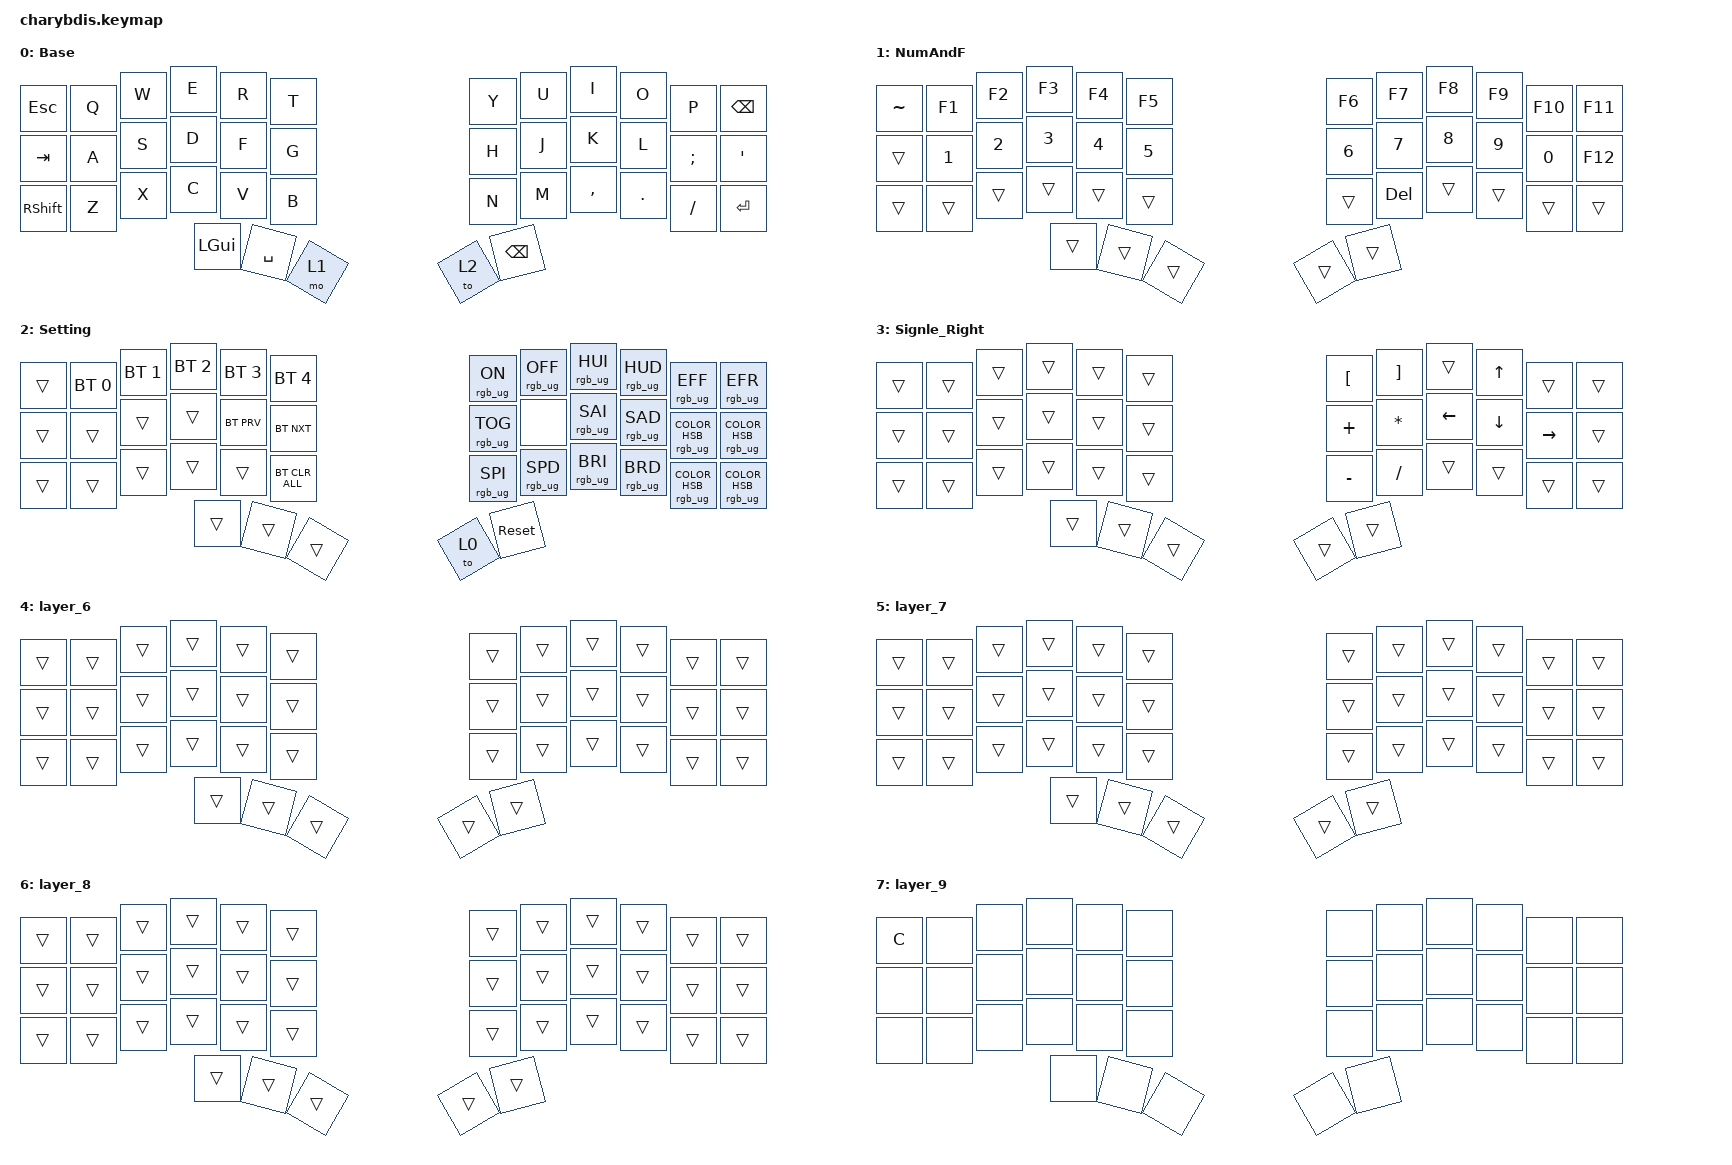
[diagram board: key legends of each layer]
#include <dt-bindings/zmk/mouse.h>
#include <input/processors.dtsi>
#include <dt-bindings/zmk/input_transform.h>
#include <behaviors.dtsi>
#include <dt-bindings/zmk/bt.h>
#include <dt-bindings/zmk/keys.h>
#include <dt-bindings/zmk/rgb.h>

#define U_TAPPING_TERM 200

/ {
    trackball_listener {
        compatible = "zmk,input-listener";
        device = <&trackball>;
        input-processors = <&zip_xy_scaler 1 2>, <&zip_temp_layer 4 400>;

        // Switch to auto-mouse temp layer, decrease sensitivity

        scroll {
            layers = <5>; // SCROLL
            input-processors =
                <&zip_xy_scaler 1 5>,
                <&zip_xy_to_scroll_mapper>,
                <&zip_scroll_transform (INPUT_TRANSFORM_Y_INVERT)>;
        };
    };

    combos {
        compatible = "zmk,combos";

        Setting {
            bindings = <&to 2>;
            key-positions = <24 0>;
            layers = <0>;
        };

        Main {
            bindings = <&to 0>;
            key-positions = <24 0>;
            layers = <2>;
        };
    };

    keymap {
        compatible = "zmk,keymap";

        Base {
            bindings = <
&kp ESC     &kp Q  &kp W  &kp E     &kp R      &kp T    &kp Y  &kp U          &kp I      &kp O    &kp P          &kp BSPC
&kp TAB     &kp A  &kp S  &kp D     &kp F      &kp G    &kp H  &kp J          &kp K      &kp L    &kp SEMICOLON  &kp APOS
&kp RSHIFT  &kp Z  &kp X  &kp C     &kp V      &kp B    &kp N  &kp M          &kp COMMA  &kp DOT  &kp FSLH       &kp ENTER
                          &kp LGUI  &kp SPACE  &mo 1    &to 2  &kp BACKSPACE
            >;

            label = "Base";
        };

        NumAndF {
            bindings = <
&kp TILDE  &kp F1  &kp F2  &kp F3  &kp F4  &kp F5    &kp F6  &kp F7      &kp F8  &kp F9  &kp F10  &kp F11
&trans     &kp N1  &kp N2  &kp N3  &kp N4  &kp N5    &kp N6  &kp N7      &kp N8  &kp N9  &kp N0   &kp F12
&trans     &trans  &trans  &trans  &trans  &trans    &trans  &kp DELETE  &trans  &trans  &trans   &trans
                           &trans  &trans  &trans    &trans  &trans
            >;

            label = "NumAndF";
        };

        Setting {
            bindings = <
&trans  &bt BT_SEL 0  &bt BT_SEL 1  &bt BT_SEL 2  &bt BT_SEL 3  &bt BT_SEL 4      &rgb_ug RGB_ON   &rgb_ug RGB_OFF  &rgb_ug RGB_HUI  &rgb_ug RGB_HUD  &rgb_ug RGB_EFF                    &rgb_ug RGB_EFR
&trans  &trans        &trans        &trans        &bt BT_PRV    &bt BT_NXT        &rgb_ug RGB_TOG  &none            &rgb_ug RGB_SAI  &rgb_ug RGB_SAD  &rgb_ug RGB_COLOR_HSB(221,100,58)  &rgb_ug RGB_COLOR_HSB(153,100,60)
&trans  &trans        &trans        &trans        &trans        &bt BT_CLR_ALL    &rgb_ug RGB_SPI  &rgb_ug RGB_SPD  &rgb_ug RGB_BRI  &rgb_ug RGB_BRD  &rgb_ug RGB_COLOR_HSB(354,100,56)  &rgb_ug RGB_COLOR_HSB(34,100,50)
                                    &trans        &trans        &trans            &to 0            &sys_reset
            >;

            label = "Setting";
        };

        Signle_Right {
            bindings = <
&trans  &trans  &trans  &trans  &trans  &trans    &kp LEFT_BRACKET  &kp RIGHT_BRACKET  &trans          &kp UP_ARROW    &trans           &trans
&trans  &trans  &trans  &trans  &trans  &trans    &kp PLUS          &kp ASTERISK       &kp LEFT_ARROW  &kp DOWN_ARROW  &kp RIGHT_ARROW  &trans
&trans  &trans  &trans  &trans  &trans  &trans    &kp MINUS         &kp SLASH          &trans          &trans          &trans           &trans
                        &trans  &trans  &trans    &trans            &trans
            >;

            label = "Signle_Right";
        };

        layer_6 {
            bindings = <
&trans  &trans  &trans  &trans  &trans  &trans    &trans  &trans  &trans  &trans  &trans  &trans
&trans  &trans  &trans  &trans  &trans  &trans    &trans  &trans  &trans  &trans  &trans  &trans
&trans  &trans  &trans  &trans  &trans  &trans    &trans  &trans  &trans  &trans  &trans  &trans
                        &trans  &trans  &trans    &trans  &trans
            >;
        };

        layer_7 {
            bindings = <
&trans  &trans  &trans  &trans  &trans  &trans    &trans  &trans  &trans  &trans  &trans  &trans
&trans  &trans  &trans  &trans  &trans  &trans    &trans  &trans  &trans  &trans  &trans  &trans
&trans  &trans  &trans  &trans  &trans  &trans    &trans  &trans  &trans  &trans  &trans  &trans
                        &trans  &trans  &trans    &trans  &trans
            >;
        };

        layer_8 {
            bindings = <
&trans  &trans  &trans  &trans  &trans  &trans    &trans  &trans  &trans  &trans  &trans  &trans
&trans  &trans  &trans  &trans  &trans  &trans    &trans  &trans  &trans  &trans  &trans  &trans
&trans  &trans  &trans  &trans  &trans  &trans    &trans  &trans  &trans  &trans  &trans  &trans
                        &trans  &trans  &trans    &trans  &trans
            >;
        };

        layer_9 {
            bindings = <
&kp C  &none  &none  &none  &none  &none    &none  &none  &none  &none  &none  &none
&none  &none  &none  &none  &none  &none    &none  &none  &none  &none  &none  &none
&none  &none  &none  &none  &none  &none    &none  &none  &none  &none  &none  &none
                     &none  &none  &none    &none  &none
            >;
        };
    };
};
